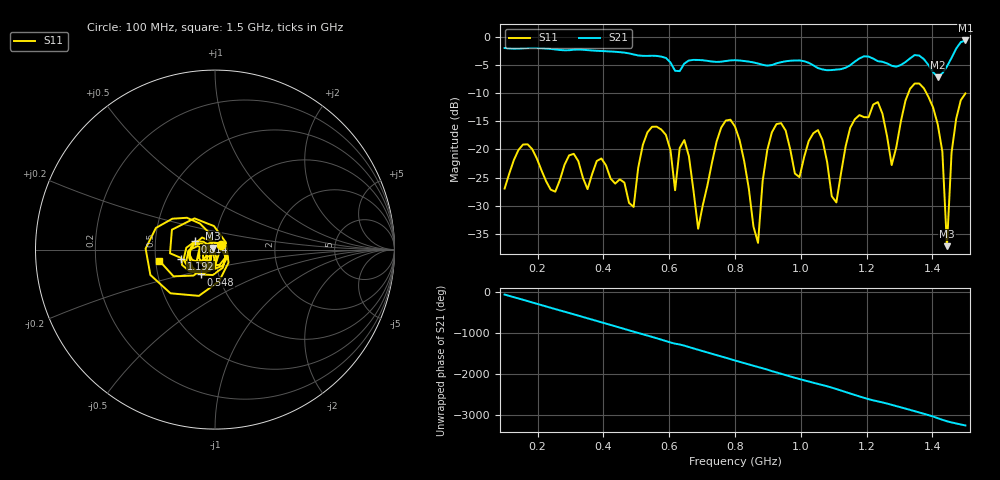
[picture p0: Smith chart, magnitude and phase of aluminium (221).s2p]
! NanoVNA-App
! Date: 2025-09-25 14:57:00
! Start: 100MHz Stop: 1,5GHz Points: 101
! S-Parameter data: F S11 S21 S12 S22
# Hz S RI R 50
!  Frequency  S11_Real  S11_Imag  S21_Real  S21_Imag  S12_Real  S12_Imag  S22_Real  S22_Imag
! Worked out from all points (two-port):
!   101 points, 100 MHz to 1.5 GHz, reference 50 ohm
!   highest |S21| = -0.57 dB at 1.5 GHz (marker M1); lowest = -7.1 dB at 1.416 GHz (marker M2)
!   |S21| within 3 dB of the highest: start of sweep to 583.3 MHz; 1.459 GHz to end of sweep (the widest 2 of 4)
!   lowest |S11| = -37.2 dB at 1.444 GHz (marker M3), VSWR 1.03, Z = 49 + j0.926 ohm
!   |S11| at or under -10 dB: start of sweep to 1.327 GHz; 1.382 GHz to end of sweep
!   S12 and S22 are empty: the file has one direction only
!   S11 on the Smith chart (normalised r, x): 100 MHz: 1.07, +0.06; 548 MHz: 0.82, -0.23; 814 MHz: 0.79, +0.07; 1.192 GHz: 0.68, -0.07; 1.5 GHz: 0.52, -0.07
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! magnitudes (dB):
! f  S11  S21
! 100 MHz  -27.0  -1.9
! 338 MHz  -25.1  -2.2
! 492 MHz  -30.2  -3.1
! 548 MHz  -16.0  -3.3
! 576 MHz  -16.4  -3.5
! 618 MHz  -27.3  -6.0
! 646 MHz  -18.3  -4.7
! 688 MHz  -34.1  -4.1
! 800 MHz  -15.9  -4.1
! 814 MHz  -18.3  -4.1
! 870 MHz  -36.6  -4.7
! 912 MHz  -16.9  -5.0
! 996 MHz  -24.9  -4.1
! 1.038 GHz  -17.1  -5.0
! 1.108 GHz  -29.4  -5.8
! 1.192 GHz  -14.2  -3.4
! 1.276 GHz  -22.8  -5.1
! 1.346 GHz  -8.3  -3.2
! 1.416 GHz  -15.5  -7.1
! 1.444 GHz  -37.2  -5.2
! 1.458 GHz  -20.5  -3.7
! 1.5 GHz  -10.0  -0.6
